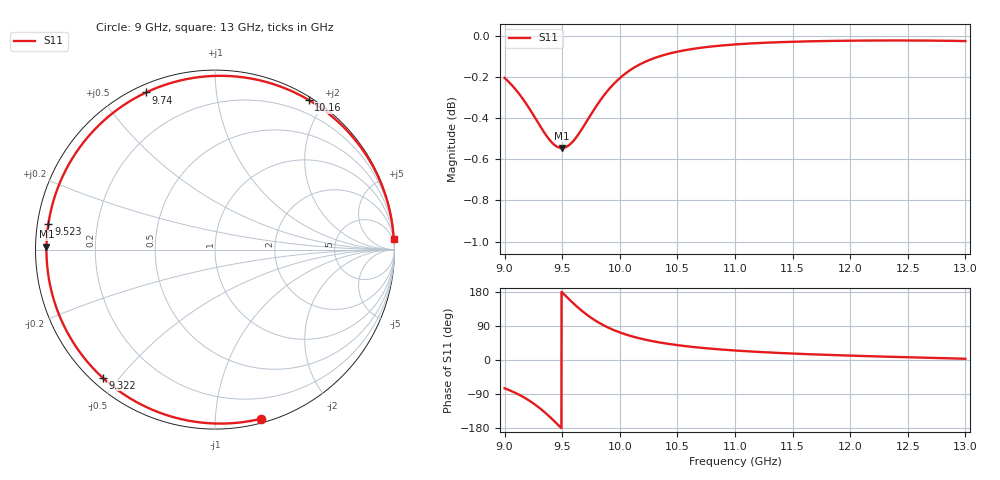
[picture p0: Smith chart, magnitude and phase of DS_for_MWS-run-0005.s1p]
! TOUCHSTONE file generated by CST DESIGN STUDIO
! Date and time: Tue Feb  4 13:10:26 2025
! Project name: C:\Work\MatlabApps\UnitCellOptimizationMatlab\CST\unitcell.cst
! Tree item: Tasks\Sweep1\SPara1\S-Parameters
! Header version: 2024
! Port assignment regex: !\s*Touchstone port\s*([0-9]+)\s*=\s*(CST MWS port|CST DES external port|CST DES block port)\s*(.+)\s* \(\"(.*)\"\)(\s*mode\s*([0-9]+))?.*
! Touchstone port assignment:
! Touchstone port 1 = CST DES external port 1 ("")
# GHz S MA R 50
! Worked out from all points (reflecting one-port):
!   4001 points, 9 GHz to 13 GHz, reference 50 ohm
!   lowest |S11| = -0.5 dB at 9.497 GHz (marker M1), VSWR 31.89, Z = 1.57 + j0.438 ohm
!   phase of S11 starts at -75 deg and turns -282 deg over the sweep
!   S11 on the Smith chart (normalised r, x): 9 GHz: 0.03, -1.31; 9.322 GHz: 0.03, -0.45; 9.523 GHz: 0.03, +0.08; 9.74 GHz: 0.03, +0.65; 10.16 GHz: 0.03, +1.81; 13 GHz: 2, +35
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9  0.9767 -74.8
9.085  0.9712 -85.5
9.186  0.9629 -101.8
9.257  0.956 -116.1
9.322  0.9494 -131.3
9.369  0.9451 -143.6
9.418  0.9416 -157.4
9.458  0.9398 -169.3
9.497  0.9392 179.0
9.5  0.9392 178.1
9.523  0.9394 171.1
9.576  0.9416 155.5
9.636  0.946 138.8
9.687  0.9507 125.8
9.74  0.956 113.7
9.793  0.9612 103.0
9.851  0.9663 92.9
9.925  0.972 81.9
10  0.9766 72.8
10.161  0.9837 57.9
10.315  0.988 47.9
10.5  0.9912 39.2
10.722  0.9935 31.7
11  0.9952 25.1
11.5  0.9967 17.0
12  0.9973 11.5
12.5  0.9974 7.2
13  0.9971 3.3
